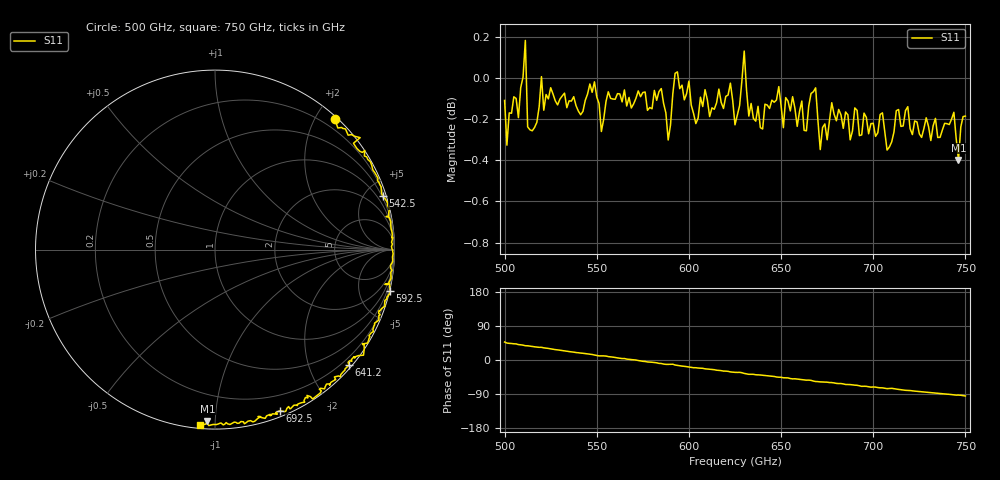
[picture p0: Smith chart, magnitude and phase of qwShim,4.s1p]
!Created with mwavepy.
# GHz S RI R 50.0
!freq	ReS11	ImS11
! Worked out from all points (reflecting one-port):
!   201 points, 500 GHz to 750 GHz, reference 50 ohm
!   lowest |S11| = -0.4 dB at 746.2 GHz (marker M1), VSWR 43.55, Z = 2.2 - j47.8 ohm
!   phase of S11 starts at 47 deg and turns -142 deg over the sweep
!   S11 on the Smith chart (normalised r, x): 500 GHz: 0.04, +2.27; 542.5 GHz: 0.39, +6.37; 592.5 GHz: -0.10, -8.61; 641.2 GHz: 0.06, -2.69; 692.5 GHz: 0.05, -1.48; 750 GHz: 0.02, -0.92
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500  0.6676 0.7276
! Port Impedance 50.00000000000000 0.00000000000000
501.25  0.6842 0.6778
511.25  0.8086 0.6237
512.5  0.7716 0.5928
520  0.8345 0.5524
531.25  0.8988 0.4149
542.5  0.9345 0.2998
562.5  0.9876 0.0831
585  0.981 -0.1606
588.75  0.9462 -0.1937
591.25  0.9723 -0.1917
592.5  0.9759 -0.2297
593.75  0.9725 -0.2471
625  0.8207 -0.5248
627.5  0.8306 -0.5289
630  0.8274 -0.5882
632.5  0.7737 -0.5997
641.25  0.7469 -0.6428
656.25  0.6386 -0.756
668.75  0.5442 -0.8324
671.25  0.5126 -0.8125
677.5  0.4999 -0.8501
687.5  0.4103 -0.8745
692.5  0.3624 -0.8979
718.75  0.1637 -0.9703
743.75  -0.0343 -0.9804
746.25  -0.0424 -0.9542
750  -0.0849 -0.9752
